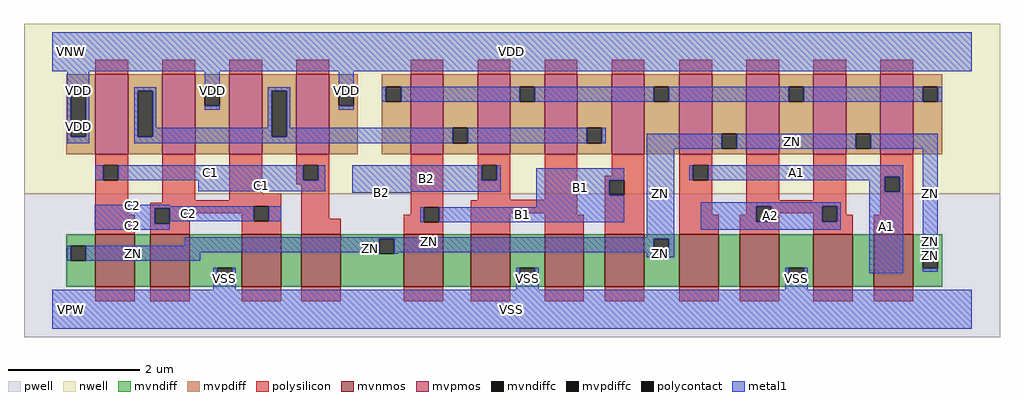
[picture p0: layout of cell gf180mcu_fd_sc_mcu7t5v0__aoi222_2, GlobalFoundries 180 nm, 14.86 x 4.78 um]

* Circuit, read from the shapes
.subckt gf180mcu_fd_sc_mcu7t5v0__aoi222_2 A1 A2 B1 B2 C1 C2 ZN VDD VNW VPW VSS
XM1 n1 C1 ZN VPW nfet_06v0 w=0.8u l=0.6u
XM2 VSS C2 n1 VPW nfet_06v0 w=0.8u l=0.6u
XM3 n2 C2 VSS VPW nfet_06v0 w=0.8u l=0.6u
XM4 ZN C1 n2 VPW nfet_06v0 w=0.8u l=0.6u
XM5 n3 B1 ZN VPW nfet_06v0 w=0.8u l=0.6u
XM6 VSS B2 n3 VPW nfet_06v0 w=0.8u l=0.6u
XM7 n4 B2 VSS VPW nfet_06v0 w=0.8u l=0.6u
XM8 ZN B1 n4 VPW nfet_06v0 w=0.8u l=0.6u
XM9 n5 A1 ZN VPW nfet_06v0 w=0.8u l=0.6u
XM10 VSS A2 n5 VPW nfet_06v0 w=0.8u l=0.6u
XM11 n6 A2 VSS VPW nfet_06v0 w=0.8u l=0.6u
XM12 ZN A1 n6 VPW nfet_06v0 w=0.8u l=0.6u
XM13 n7 C1 VDD VNW pfet_06v0 w=1.22u l=0.5u m=2
XM14 VDD C2 n7 VNW pfet_06v0 w=1.22u l=0.5u m=2
XM15 n7 B1 n8 VNW pfet_06v0 w=1.22u l=0.5u m=2
XM16 n8 B2 n7 VNW pfet_06v0 w=1.22u l=0.5u m=2
XM17 ZN A1 n8 VNW pfet_06v0 w=1.22u l=0.5u m=2
XM18 n8 A2 ZN VNW pfet_06v0 w=1.22u l=0.5u m=2
.ends

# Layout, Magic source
magic
tech gf180mcuD
magscale 1 10
<< nwell >>
rect -86 352 2886 870
<< pwell >>
rect -86 -86 2886 352
<< mvnmos >>
rect 131 68 251 228
rect 299 68 419 228
rect 577 68 697 228
rect 759 68 879 228
rect 1071 68 1191 228
rect 1275 68 1395 228
rect 1499 68 1619 228
rect 1683 68 1803 228
rect 1910 68 2030 228
rect 2094 68 2214 228
rect 2318 68 2438 228
rect 2502 68 2622 228
<< mvpmos >>
rect 131 472 231 716
rect 335 472 435 716
rect 539 472 639 716
rect 743 472 843 716
rect 1091 472 1191 716
rect 1295 472 1395 716
rect 1499 472 1599 716
rect 1703 472 1803 716
rect 1910 472 2010 716
rect 2114 472 2214 716
rect 2318 472 2418 716
rect 2522 472 2622 716
<< mvndiff >>
rect 43 194 131 228
rect 43 148 56 194
rect 102 148 131 194
rect 43 68 131 148
rect 251 68 299 228
rect 419 127 577 228
rect 419 81 502 127
rect 548 81 577 127
rect 419 68 577 81
rect 697 68 759 228
rect 879 215 1071 228
rect 879 169 996 215
rect 1042 169 1071 215
rect 879 68 1071 169
rect 1191 68 1275 228
rect 1395 127 1499 228
rect 1395 81 1424 127
rect 1470 81 1499 127
rect 1395 68 1499 81
rect 1619 68 1683 228
rect 1803 215 1910 228
rect 1803 169 1832 215
rect 1878 169 1910 215
rect 1803 68 1910 169
rect 2030 68 2094 228
rect 2214 127 2318 228
rect 2214 81 2243 127
rect 2289 81 2318 127
rect 2214 68 2318 81
rect 2438 68 2502 228
rect 2622 171 2710 228
rect 2622 125 2651 171
rect 2697 125 2710 171
rect 2622 68 2710 125
<< mvpdiff >>
rect 43 665 131 716
rect 43 525 56 665
rect 102 525 131 665
rect 43 472 131 525
rect 231 665 335 716
rect 231 525 260 665
rect 306 525 335 665
rect 231 472 335 525
rect 435 665 539 716
rect 435 619 464 665
rect 510 619 539 665
rect 435 472 539 619
rect 639 665 743 716
rect 639 525 668 665
rect 714 525 743 665
rect 639 472 743 525
rect 843 665 931 716
rect 843 619 872 665
rect 918 619 931 665
rect 843 472 931 619
rect 1003 678 1091 716
rect 1003 632 1016 678
rect 1062 632 1091 678
rect 1003 472 1091 632
rect 1191 552 1295 716
rect 1191 506 1220 552
rect 1266 506 1295 552
rect 1191 472 1295 506
rect 1395 678 1499 716
rect 1395 632 1424 678
rect 1470 632 1499 678
rect 1395 472 1499 632
rect 1599 552 1703 716
rect 1599 506 1628 552
rect 1674 506 1703 552
rect 1599 472 1703 506
rect 1803 678 1910 716
rect 1803 632 1832 678
rect 1878 632 1910 678
rect 1803 472 1910 632
rect 2010 534 2114 716
rect 2010 488 2039 534
rect 2085 488 2114 534
rect 2010 472 2114 488
rect 2214 678 2318 716
rect 2214 632 2243 678
rect 2289 632 2318 678
rect 2214 472 2318 632
rect 2418 534 2522 716
rect 2418 488 2447 534
rect 2493 488 2522 534
rect 2418 472 2522 488
rect 2622 678 2710 716
rect 2622 632 2651 678
rect 2697 632 2710 678
rect 2622 472 2710 632
<< mvndiffc >>
rect 56 148 102 194
rect 502 81 548 127
rect 996 169 1042 215
rect 1424 81 1470 127
rect 1832 169 1878 215
rect 2243 81 2289 127
rect 2651 125 2697 171
<< mvpdiffc >>
rect 56 525 102 665
rect 260 525 306 665
rect 464 619 510 665
rect 668 525 714 665
rect 872 619 918 665
rect 1016 632 1062 678
rect 1220 506 1266 552
rect 1424 632 1470 678
rect 1628 506 1674 552
rect 1832 632 1878 678
rect 2039 488 2085 534
rect 2243 632 2289 678
rect 2447 488 2493 534
rect 2651 632 2697 678
<< polysilicon >>
rect 131 716 231 760
rect 335 716 435 760
rect 539 716 639 760
rect 743 716 843 760
rect 1091 716 1191 760
rect 1295 716 1395 760
rect 1499 716 1599 760
rect 1703 716 1803 760
rect 1910 716 2010 760
rect 2114 716 2214 760
rect 2318 716 2418 760
rect 2522 716 2622 760
rect 131 439 231 472
rect 131 393 155 439
rect 201 393 231 439
rect 131 288 231 393
rect 335 332 435 472
rect 539 351 639 472
rect 743 439 843 472
rect 743 393 764 439
rect 810 393 843 439
rect 743 380 843 393
rect 539 332 697 351
rect 335 324 697 332
rect 299 314 697 324
rect 299 307 614 314
rect 131 228 251 288
rect 299 261 312 307
rect 358 292 614 307
rect 358 261 419 292
rect 299 228 419 261
rect 577 268 614 292
rect 660 268 697 314
rect 577 228 697 268
rect 759 276 843 380
rect 1091 311 1191 472
rect 1295 439 1395 472
rect 1295 393 1308 439
rect 1354 393 1395 439
rect 1295 333 1395 393
rect 1499 333 1599 472
rect 1703 406 1803 472
rect 1295 332 1599 333
rect 1091 288 1132 311
rect 759 228 879 276
rect 1071 265 1132 288
rect 1178 265 1191 311
rect 1071 228 1191 265
rect 1275 293 1599 332
rect 1275 228 1395 293
rect 1499 288 1599 293
rect 1683 393 1803 406
rect 1683 347 1696 393
rect 1742 347 1803 393
rect 1499 228 1619 288
rect 1683 228 1803 347
rect 1910 439 2010 472
rect 1910 393 1951 439
rect 1997 393 2010 439
rect 1910 288 2010 393
rect 2114 332 2214 472
rect 2318 332 2418 472
rect 2114 313 2418 332
rect 2114 288 2144 313
rect 1910 228 2030 288
rect 2094 267 2144 288
rect 2190 292 2344 313
rect 2190 267 2214 292
rect 2094 228 2214 267
rect 2318 267 2344 292
rect 2390 288 2418 313
rect 2522 403 2622 472
rect 2522 357 2535 403
rect 2581 357 2622 403
rect 2522 288 2622 357
rect 2390 267 2438 288
rect 2318 228 2438 267
rect 2502 228 2622 288
rect 131 24 251 68
rect 299 24 419 68
rect 577 24 697 68
rect 759 24 879 68
rect 1071 24 1191 68
rect 1275 24 1395 68
rect 1499 24 1619 68
rect 1683 24 1803 68
rect 1910 24 2030 68
rect 2094 24 2214 68
rect 2318 24 2438 68
rect 2502 24 2622 68
<< polycontact >>
rect 155 393 201 439
rect 764 393 810 439
rect 312 261 358 307
rect 614 268 660 314
rect 1308 393 1354 439
rect 1132 265 1178 311
rect 1696 347 1742 393
rect 1951 393 1997 439
rect 2144 267 2190 313
rect 2344 267 2390 313
rect 2535 357 2581 403
<< metal1 >>
rect 0 724 2800 844
rect 45 665 113 724
rect 45 525 56 665
rect 102 525 113 665
rect 45 506 113 525
rect 249 665 317 676
rect 249 525 260 665
rect 306 552 317 665
rect 464 665 510 724
rect 464 608 510 619
rect 657 665 725 676
rect 657 552 668 665
rect 306 525 668 552
rect 714 552 725 665
rect 872 665 918 724
rect 1004 632 1016 678
rect 1062 632 1424 678
rect 1470 632 1832 678
rect 1878 632 2243 678
rect 2289 632 2651 678
rect 2697 632 2710 678
rect 872 608 918 619
rect 714 525 1220 552
rect 249 506 1220 525
rect 1266 506 1628 552
rect 1674 506 1685 552
rect 1810 488 2039 534
rect 2085 488 2447 534
rect 2493 488 2697 534
rect 131 393 155 439
rect 201 393 764 439
rect 810 393 831 439
rect 445 360 831 393
rect 914 393 1308 439
rect 1354 393 1365 439
rect 914 357 1365 393
rect 1474 393 1742 430
rect 914 354 1092 357
rect 1474 347 1696 393
rect 130 314 358 318
rect 130 307 614 314
rect 130 261 312 307
rect 358 268 614 307
rect 660 268 697 314
rect 1474 311 1742 347
rect 1121 265 1132 311
rect 1178 265 1742 311
rect 130 242 358 261
rect 1810 219 1894 488
rect 1940 393 1951 439
rect 1997 403 2592 439
rect 1997 393 2535 403
rect 1940 392 2535 393
rect 2488 357 2535 392
rect 2581 357 2592 403
rect 1974 313 2401 326
rect 1974 267 2144 313
rect 2190 267 2344 313
rect 2390 267 2401 313
rect 1974 242 2401 267
rect 404 215 1894 219
rect 404 194 996 215
rect 45 148 56 194
rect 102 173 996 194
rect 102 148 450 173
rect 985 169 996 173
rect 1042 173 1832 215
rect 1042 169 1053 173
rect 1810 169 1832 173
rect 1878 169 1894 215
rect 1810 158 1894 169
rect 491 81 502 127
rect 548 81 559 127
rect 491 60 559 81
rect 1413 81 1424 127
rect 1470 81 1481 127
rect 1413 60 1481 81
rect 2232 81 2243 127
rect 2289 81 2300 127
rect 2488 110 2592 357
rect 2651 171 2697 488
rect 2651 114 2697 125
rect 2232 60 2300 81
rect 0 -60 2800 60
<< labels >>
flabel metal1 s 914 357 1365 439 0 FreeSans 400 0 0 0 B2
port 4 nsew default input
flabel metal1 s 1474 311 1742 430 0 FreeSans 400 0 0 0 B1
port 3 nsew default input
flabel metal1 s 1974 242 2401 326 0 FreeSans 400 0 0 0 A2
port 2 nsew default input
flabel metal1 s 1940 392 2592 439 0 FreeSans 400 0 0 0 A1
port 1 nsew default input
flabel metal1 s 1810 488 2697 534 0 FreeSans 400 0 0 0 ZN
port 7 nsew default output
flabel metal1 s 2232 60 2300 127 0 FreeSans 400 0 0 0 VSS
port 11 nsew ground bidirectional abutment
flabel metal1 s 0 724 2800 844 0 FreeSans 400 0 0 0 VDD
port 8 nsew power bidirectional abutment
flabel metal1 s 130 314 358 318 0 FreeSans 400 0 0 0 C2
port 6 nsew default input
flabel metal1 s 131 393 831 439 0 FreeSans 400 0 0 0 C1
port 5 nsew default input
flabel nwell s 10 734 110 834 0 FreeSans 400 0 0 0 VNW
port 9 nsew power bidirectional
flabel pwell s 10 -50 110 50 0 FreeSans 400 0 0 0 VPW
port 10 nsew ground bidirectional
rlabel metal1 s 2488 110 2592 392 1 A1
port 1 nsew default input
rlabel metal1 s 1121 265 1742 311 1 B1
port 3 nsew default input
rlabel metal1 s 914 354 1092 357 1 B2
port 4 nsew default input
rlabel metal1 s 445 360 831 393 1 C1
port 5 nsew default input
rlabel metal1 s 130 268 697 314 1 C2
port 6 nsew default input
rlabel metal1 s 130 242 358 268 1 C2
port 6 nsew default input
rlabel metal1 s 2651 219 2697 488 1 ZN
port 7 nsew default output
rlabel metal1 s 1810 219 1894 488 1 ZN
port 7 nsew default output
rlabel metal1 s 2651 194 2697 219 1 ZN
port 7 nsew default output
rlabel metal1 s 404 194 1894 219 1 ZN
port 7 nsew default output
rlabel metal1 s 2651 173 2697 194 1 ZN
port 7 nsew default output
rlabel metal1 s 45 173 1894 194 1 ZN
port 7 nsew default output
rlabel metal1 s 2651 169 2697 173 1 ZN
port 7 nsew default output
rlabel metal1 s 1810 169 1894 173 1 ZN
port 7 nsew default output
rlabel metal1 s 985 169 1053 173 1 ZN
port 7 nsew default output
rlabel metal1 s 45 169 450 173 1 ZN
port 7 nsew default output
rlabel metal1 s 2651 158 2697 169 1 ZN
port 7 nsew default output
rlabel metal1 s 1810 158 1894 169 1 ZN
port 7 nsew default output
rlabel metal1 s 45 158 450 169 1 ZN
port 7 nsew default output
rlabel metal1 s 2651 148 2697 158 1 ZN
port 7 nsew default output
rlabel metal1 s 45 148 450 158 1 ZN
port 7 nsew default output
rlabel metal1 s 2651 114 2697 148 1 ZN
port 7 nsew default output
rlabel metal1 s 872 608 918 724 1 VDD
port 8 nsew power bidirectional abutment
rlabel metal1 s 464 608 510 724 1 VDD
port 8 nsew power bidirectional abutment
rlabel metal1 s 45 608 113 724 1 VDD
port 8 nsew power bidirectional abutment
rlabel metal1 s 45 506 113 608 1 VDD
port 8 nsew power bidirectional abutment
rlabel metal1 s 1413 60 1481 127 1 VSS
port 11 nsew ground bidirectional abutment
rlabel metal1 s 491 60 559 127 1 VSS
port 11 nsew ground bidirectional abutment
rlabel metal1 s 0 -60 2800 60 1 VSS
port 11 nsew ground bidirectional abutment
<< properties >>
string FIXED_BBOX 0 0 2800 784
string GDS_END 1320990
string GDS_FILE $PDKPATH/libs.ref/gf180mcu_fd_sc_mcu7t5v0/gds/gf180mcu_fd_sc_mcu7t5v0.gds
string GDS_START 1314948
string LEFclass core
string LEFsite GF018hv5v_mcu_sc7
string LEFsymmetry X Y
<< end >>
